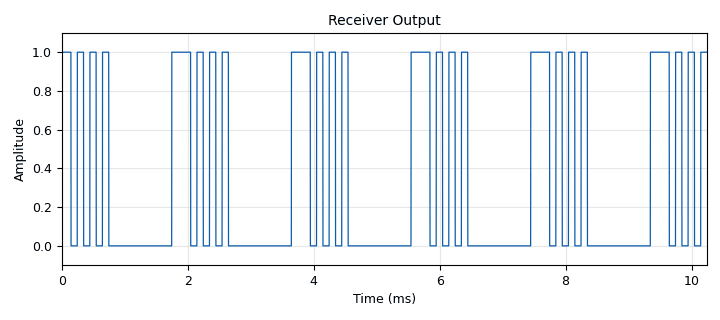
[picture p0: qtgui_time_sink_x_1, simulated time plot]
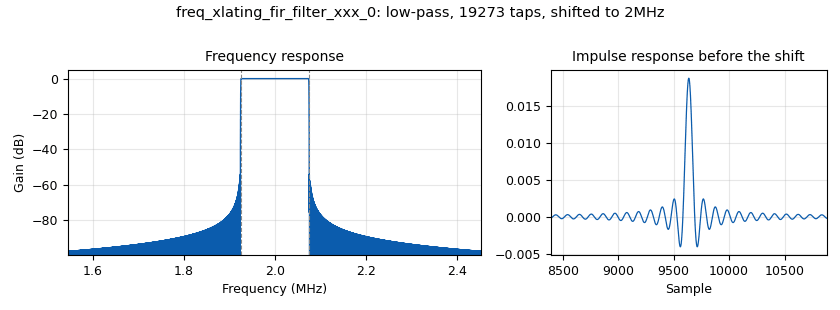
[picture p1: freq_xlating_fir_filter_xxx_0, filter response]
<?xml version='1.0' encoding='utf-8'?>
<?grc format='1' created='3.7.11'?>
<flow_graph>
<block>
<key>options</key>
<param><key>id</key><value>top_block</value></param>
<param><key>generate_options</key><value>qt_gui</value></param>
</block>
<block>
<key>variable</key>
<param><key>id</key><value>center_freq</value></param>
<param><key>value</key><value>313e6</value></param>
</block>
<block>
<key>variable</key>
<param><key>id</key><value>filter_cutoff</value></param>
<param><key>comment</key><value>1.5 * fsk_deviation_hz/2</value></param>
<param><key>value</key><value>1.5*fsk_deviation_hz/2</value></param>
</block>
<block>
<key>variable</key>
<param><key>id</key><value>filter_transition</value></param>
<param><key>value</key><value>1e3</value></param>
</block>
<block>
<key>variable_qtgui_entry</key>
<param><key>id</key><value>freq</value></param>
<param><key>value</key><value>315e6</value></param>
<param><key>type</key><value>real</value></param>
</block>
<block>
<key>variable_qtgui_entry</key>
<param><key>id</key><value>fsk_deviation_hz</value></param>
<param><key>value</key><value>100e3</value></param>
<param><key>type</key><value>real</value></param>
</block>
<block>
<key>variable</key>
<param><key>id</key><value>samp_rate</value></param>
<param><key>value</key><value>8e6</value></param>
</block>
<block>
<key>variable_qtgui_entry</key>
<param><key>id</key><value>threshold</value></param>
<param><key>comment</key><value>Threshold value is midpoint between mark and
space. +1 and -1</value></param>
<param><key>value</key><value>0</value></param>
<param><key>type</key><value>real</value></param>
</block>
<block>
<key>variable</key>
<param><key>id</key><value>working_samp_rate</value></param>
<param><key>value</key><value>400e3</value></param>
</block>
<block>
<key>analog_frequency_modulator_fc</key>
<param><key>id</key><value>analog_frequency_modulator_fc_0</value></param>
<param><key>comment</key><value>sensitivity determines how much the block will
shift the frequency based on the input amplitude.

Larger sensitivities produce larger frequency 
swings.

Block transforms baseband signal into frequency
offsets.</value></param>
<param><key>sensitivity</key><value>(2*math.pi*(fsk_deviation_hz/2))/samp_rate</value></param>
</block>
<block>
<key>analog_quadrature_demod_cf</key>
<param><key>id</key><value>analog_quadrature_demod_cf_0</value></param>
<param><key>comment</key><value>Output ranges between -1 and +1</value></param>
<param><key>gain</key><value>working_samp_rate/(2*math.pi*(fsk_deviation_hz/2))</value></param>
</block>
<block>
<key>analog_sig_source_x</key>
<param><key>id</key><value>analog_sig_source_x_0</value></param>
<param><key>amp</key><value>1e3</value></param>
<param><key>freq</key><value>2e6</value></param>
<param><key>offset</key><value>0</value></param>
<param><key>type</key><value>complex</value></param>
<param><key>samp_rate</key><value>samp_rate</value></param>
<param><key>waveform</key><value>analog.GR_COS_WAVE</value></param>
</block>
<block>
<key>blocks_add_const_vxx</key>
<param><key>id</key><value>blocks_add_const_vxx_0</value></param>
<param><key>const</key><value>-threshold</value></param>
<param><key>type</key><value>float</value></param>
</block>
<block>
<key>blocks_multiply_xx</key>
<param><key>id</key><value>blocks_multiply_xx_0</value></param>
<param><key>type</key><value>complex</value></param>
</block>
<block>
<key>blocks_repeat</key>
<param><key>id</key><value>blocks_repeat_0</value></param>
<param><key>comment</key><value>The interpolation rate is set at 800.

The sample rate is 8 MHz.

Sample period is 1/8 MHz = 0.125 microseconds

Repeating the input 800 times results in a 
pulse length of 100 microseconds.

This gives us a nice square wave. Without the
repeat block, we have a series of spikes when at 
the transition from 0 to 1 when the rate is 8 MHz.

To slow down signal and make the waterfall plots 
easier to read the space and mark, multiply the
interpolation rate 800 by 1000 or some other
constant value.</value></param>
<param><key>interp</key><value>800</value></param>
<param><key>type</key><value>float</value></param>
</block>
<block>
<key>blocks_throttle</key>
<param><key>id</key><value>blocks_throttle_0</value></param>
<param><key>samples_per_second</key><value>samp_rate</value></param>
<param><key>type</key><value>complex</value></param>
</block>
<block>
<key>blocks_uchar_to_float</key>
<param><key>id</key><value>blocks_uchar_to_float_0</value></param>
</block>
<block>
<key>blocks_vector_source_x</key>
<param><key>id</key><value>blocks_vector_source_x_0</value></param>
<param><key>type</key><value>float</value></param>
<param><key>repeat</key><value>True</value></param>
<param><key>vector</key><value>(-1, 1,1,1,-1,1,-1,1,-1,1,-1,-1,-1,-1,-1,-1,-1,-1,-1)</value></param>
</block>
<block>
<key>digital_binary_slicer_fb</key>
<param><key>id</key><value>digital_binary_slicer_fb_1</value></param>
</block>
<block>
<key>freq_xlating_fir_filter_xxx</key>
<param><key>id</key><value>freq_xlating_fir_filter_xxx_0</value></param>
<param><key>center_freq</key><value>freq-center_freq</value></param>
<param><key>decim</key><value>int(samp_rate/working_samp_rate)</value></param>
<param><key>samp_rate</key><value>samp_rate</value></param>
<param><key>taps</key><value>firdes.low_pass(1,samp_rate,filter_cutoff,filter_transition)</value></param>
<param><key>type</key><value>ccc</value></param>
</block>
<block>
<key>import</key>
<param><key>id</key><value>import_0</value></param>
<param><key>comment</key><value>importing math for use of pi</value></param>
<param><key>import</key><value>import math</value></param>
</block>
<block>
<key>note</key>
<param><key>id</key><value>note_0</value></param>
<param><key>comment</key><value>Produces mark and space frequencies, separated
by the value of fsk_deviation_hz.</value></param>
<param><key>note</key><value>Frequency Shift Key Modulation</value></param>
</block>
<block>
<key>qtgui_time_sink_x</key>
<param><key>id</key><value>qtgui_time_sink_x_0</value></param>
<param><key>_enabled</key><value>0</value></param>
<param><key>color1</key><value>"blue"</value></param>
<param><key>label1</key><value></value></param>
<param><key>name</key><value>"Digital Input"</value></param>
<param><key>size</key><value>16384</value></param>
<param><key>srate</key><value>samp_rate</value></param>
<param><key>type</key><value>float</value></param>
<param><key>ymin</key><value>-0.1</value></param>
</block>
<block>
<key>qtgui_time_sink_x</key>
<param><key>id</key><value>qtgui_time_sink_x_0_0</value></param>
<param><key>_enabled</key><value>0</value></param>
<param><key>color1</key><value>"blue"</value></param>
<param><key>label1</key><value></value></param>
<param><key>color2</key><value>"red"</value></param>
<param><key>label2</key><value></value></param>
<param><key>name</key><value>"FSK Modulated Signal"</value></param>
<param><key>size</key><value>16384</value></param>
<param><key>srate</key><value>samp_rate</value></param>
<param><key>type</key><value>complex</value></param>
<param><key>ymin</key><value>-0.1</value></param>
</block>
<block>
<key>qtgui_time_sink_x</key>
<param><key>id</key><value>qtgui_time_sink_x_1</value></param>
<param><key>color1</key><value>"blue"</value></param>
<param><key>label1</key><value></value></param>
<param><key>name</key><value>"Receiver Output"</value></param>
<param><key>size</key><value>4096</value></param>
<param><key>srate</key><value>working_samp_rate</value></param>
<param><key>type</key><value>float</value></param>
<param><key>ymax</key><value>1.1</value></param>
<param><key>ymin</key><value>-0.1</value></param>
</block>
<block>
<key>qtgui_time_sink_x</key>
<param><key>id</key><value>qtgui_time_sink_x_2</value></param>
<param><key>_enabled</key><value>0</value></param>
<param><key>color1</key><value>"blue"</value></param>
<param><key>label1</key><value></value></param>
<param><key>name</key><value>"Demodulator Output"</value></param>
<param><key>size</key><value>1024</value></param>
<param><key>srate</key><value>working_samp_rate</value></param>
<param><key>type</key><value>float</value></param>
</block>
<block>
<key>qtgui_waterfall_sink_x</key>
<param><key>id</key><value>qtgui_waterfall_sink_x_0</value></param>
<param><key>bw</key><value>samp_rate</value></param>
<param><key>fc</key><value>0</value></param>
<param><key>_enabled</key><value>0</value></param>
<param><key>fftsize</key><value>1024</value></param>
<param><key>name</key><value>"Frequency Modulator Output"</value></param>
<param><key>showports</key><value>True</value></param>
<param><key>type</key><value>complex</value></param>
<param><key>wintype</key><value>firdes.WIN_BLACKMAN_hARRIS</value></param>
</block>
<block>
<key>qtgui_waterfall_sink_x</key>
<param><key>id</key><value>qtgui_waterfall_sink_x_1</value></param>
<param><key>bw</key><value>samp_rate</value></param>
<param><key>fc</key><value>0</value></param>
<param><key>_enabled</key><value>0</value></param>
<param><key>fftsize</key><value>1024</value></param>
<param><key>name</key><value>"Transmitter Output"</value></param>
<param><key>showports</key><value>True</value></param>
<param><key>type</key><value>complex</value></param>
<param><key>wintype</key><value>firdes.WIN_BLACKMAN_hARRIS</value></param>
</block>
<block>
<key>qtgui_waterfall_sink_x</key>
<param><key>id</key><value>qtgui_waterfall_sink_x_2</value></param>
<param><key>bw</key><value>working_samp_rate</value></param>
<param><key>fc</key><value>0</value></param>
<param><key>_enabled</key><value>0</value></param>
<param><key>fftsize</key><value>1024</value></param>
<param><key>name</key><value>"Demodulator Input"</value></param>
<param><key>showports</key><value>True</value></param>
<param><key>type</key><value>complex</value></param>
<param><key>wintype</key><value>firdes.WIN_BLACKMAN_hARRIS</value></param>
</block>
<connection><source_block_id>analog_frequency_modulator_fc_0</source_block_id><sink_block_id>blocks_multiply_xx_0</sink_block_id><source_key>0</source_key><sink_key>0</sink_key></connection>
<connection><source_block_id>analog_frequency_modulator_fc_0</source_block_id><sink_block_id>qtgui_waterfall_sink_x_0</sink_block_id><source_key>0</source_key><sink_key>0</sink_key></connection>
<connection><source_block_id>analog_quadrature_demod_cf_0</source_block_id><sink_block_id>blocks_add_const_vxx_0</sink_block_id><source_key>0</source_key><sink_key>0</sink_key></connection>
<connection><source_block_id>analog_quadrature_demod_cf_0</source_block_id><sink_block_id>qtgui_time_sink_x_2</sink_block_id><source_key>0</source_key><sink_key>0</sink_key></connection>
<connection><source_block_id>analog_sig_source_x_0</source_block_id><sink_block_id>blocks_throttle_0</sink_block_id><source_key>0</source_key><sink_key>0</sink_key></connection>
<connection><source_block_id>blocks_add_const_vxx_0</source_block_id><sink_block_id>digital_binary_slicer_fb_1</sink_block_id><source_key>0</source_key><sink_key>0</sink_key></connection>
<connection><source_block_id>blocks_multiply_xx_0</source_block_id><sink_block_id>freq_xlating_fir_filter_xxx_0</sink_block_id><source_key>0</source_key><sink_key>0</sink_key></connection>
<connection><source_block_id>blocks_multiply_xx_0</source_block_id><sink_block_id>qtgui_time_sink_x_0_0</sink_block_id><source_key>0</source_key><sink_key>0</sink_key></connection>
<connection><source_block_id>blocks_multiply_xx_0</source_block_id><sink_block_id>qtgui_waterfall_sink_x_1</sink_block_id><source_key>0</source_key><sink_key>0</sink_key></connection>
<connection><source_block_id>blocks_repeat_0</source_block_id><sink_block_id>analog_frequency_modulator_fc_0</sink_block_id><source_key>0</source_key><sink_key>0</sink_key></connection>
<connection><source_block_id>blocks_repeat_0</source_block_id><sink_block_id>qtgui_time_sink_x_0</sink_block_id><source_key>0</source_key><sink_key>0</sink_key></connection>
<connection><source_block_id>blocks_throttle_0</source_block_id><sink_block_id>blocks_multiply_xx_0</sink_block_id><source_key>0</source_key><sink_key>1</sink_key></connection>
<connection><source_block_id>blocks_uchar_to_float_0</source_block_id><sink_block_id>qtgui_time_sink_x_1</sink_block_id><source_key>0</source_key><sink_key>0</sink_key></connection>
<connection><source_block_id>blocks_vector_source_x_0</source_block_id><sink_block_id>blocks_repeat_0</sink_block_id><source_key>0</source_key><sink_key>0</sink_key></connection>
<connection><source_block_id>digital_binary_slicer_fb_1</source_block_id><sink_block_id>blocks_uchar_to_float_0</sink_block_id><source_key>0</source_key><sink_key>0</sink_key></connection>
<connection><source_block_id>freq_xlating_fir_filter_xxx_0</source_block_id><sink_block_id>analog_quadrature_demod_cf_0</sink_block_id><source_key>0</source_key><sink_key>0</sink_key></connection>
<connection><source_block_id>freq_xlating_fir_filter_xxx_0</source_block_id><sink_block_id>qtgui_waterfall_sink_x_2</sink_block_id><source_key>0</source_key><sink_key>0</sink_key></connection>
</flow_graph>
